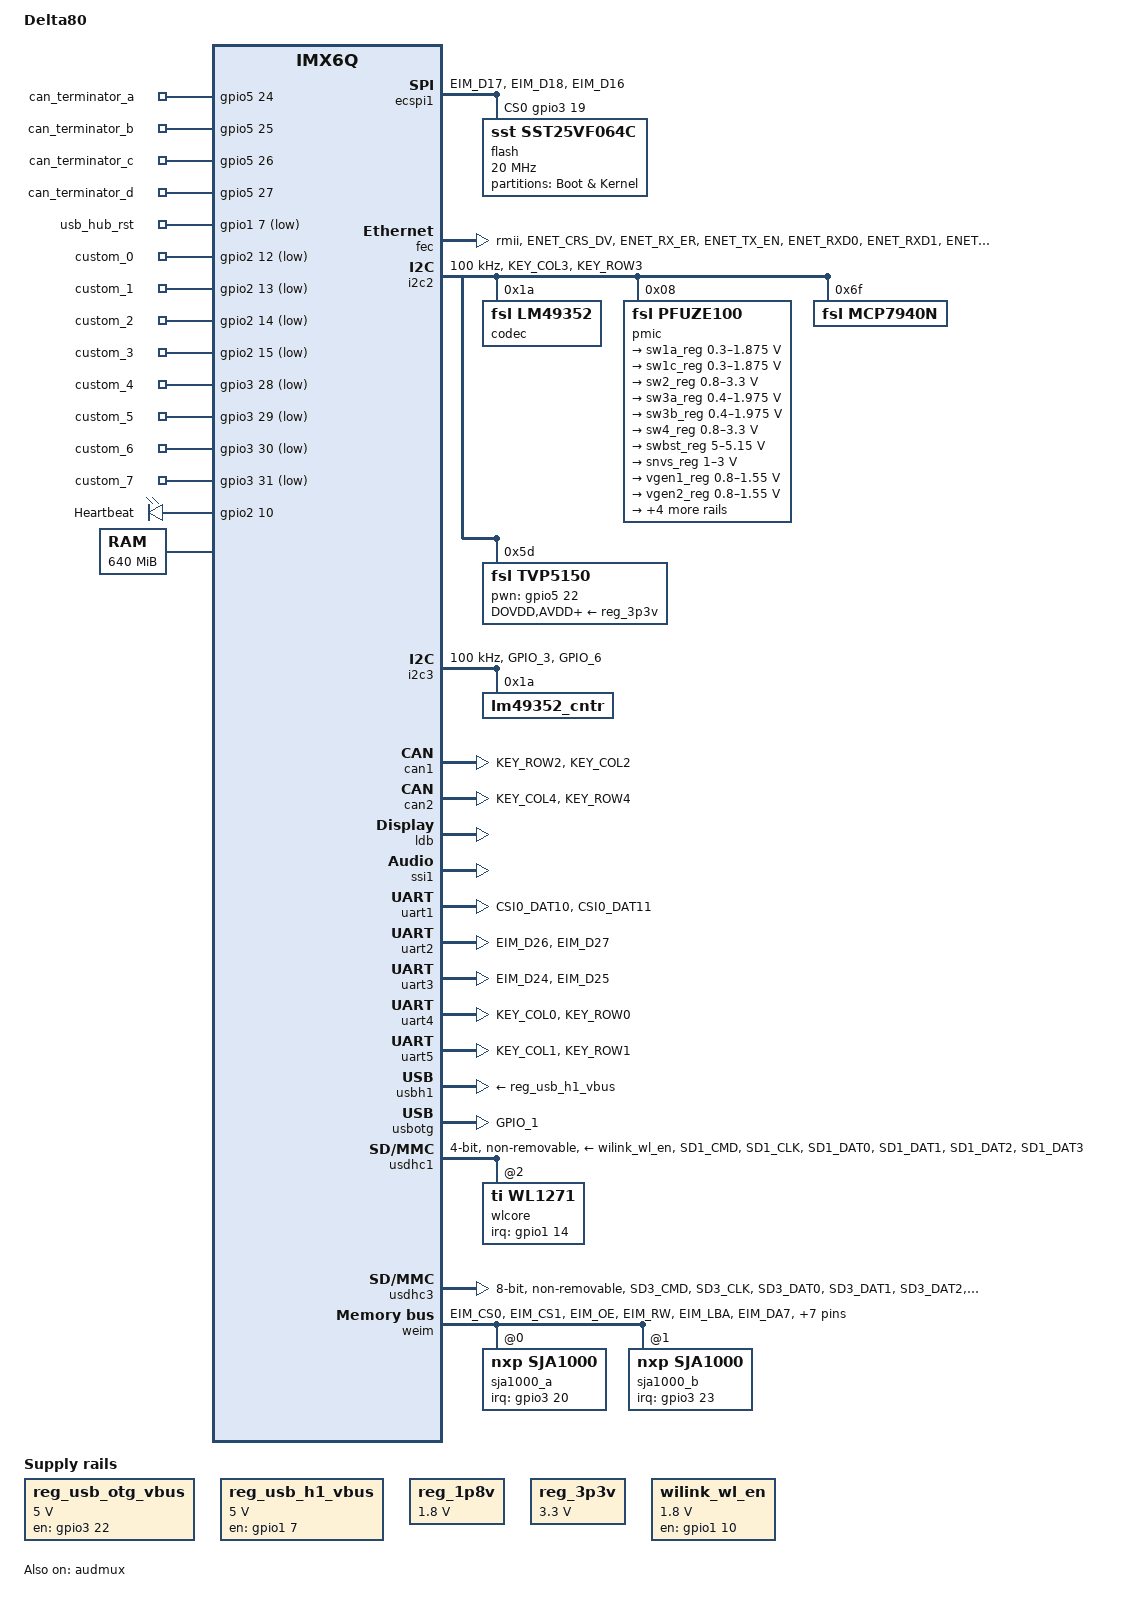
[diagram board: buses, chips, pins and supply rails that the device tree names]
/*
 * Copyright 2012 Freescale Semiconductor, Inc.
 * Copyright 2011 Linaro Ltd.
 *
*/
/dts-v1/;

#include "imx6q.dtsi"
#include <dt-bindings/input/input.h>
#include <dt-bindings/gpio/gpio.h>

/ {
	model = "Delta80";
	compatible = "fsl,imx6q-sabresd", "fsl,imx6q";
};

/ {

	aliases {
		mxcfb0 = &mxcfb1;
		mxcfb1 = &mxcfb2;
		mxcfb2 = &mxcfb3;
		mxcfb3 = &mxcfb4;
        mmc0 = &usdhc3; /*force enumeration at index 0*/
        mmc1 = &usdhc1; /*force enumeration at index 0*/
        nor = &flash;
	};

	gpio_export {
		compatible = "gpio-export";
		#size-cells = <0>;

		can_terminator_a {
			gpio-export,name = "can_terminator_a";
			gpio-export,output = <0>;
			gpios = <&gpio5 24 GPIO_ACTIVE_HIGH>;
		};
		can_terminator_b {
			gpio-export,name = "can_terminator_b";
			gpio-export,output = <0>;
			gpios = <&gpio5 25 GPIO_ACTIVE_HIGH>;
		};
		can_terminator_c {
			gpio-export,name = "can_terminator_c";
			gpio-export,output = <0>;
			gpios = <&gpio5 26 GPIO_ACTIVE_HIGH>;
		};
		can_terminator_d {
			gpio-export,name = "can_terminator_d";
			gpio-export,output = <0>;
			gpios = <&gpio5 27 GPIO_ACTIVE_HIGH>;
		};
		usb_hub_rst {
			gpio-export,name = "usb_hub_rst";
			gpio-export,output = <0>;
			gpios = <&gpio1 7 GPIO_ACTIVE_LOW>;
		};
		//wlan_enable { //TBD
		//	gpio-export,name = "wlan_enable";
		//	gpio-export,output = <0>;
		//	gpios = <&gpio1 10 GPIO_ACTIVE_HIGH>;
		//};
		custom_0 {
			gpio-export,name = "custom_0";
			gpios = <&gpio2 12 GPIO_ACTIVE_LOW>;
		};
		custom_1 {
			gpio-export,name = "custom_1";
			gpios = <&gpio2 13 GPIO_ACTIVE_LOW>;
		};
		custom_2 {
			gpio-export,name = "custom_2";
			gpios = <&gpio2 14 GPIO_ACTIVE_LOW>;
		};
		custom_3 {
			gpio-export,name = "custom_3";
			gpios = <&gpio2 15 GPIO_ACTIVE_LOW>;
		};
		custom_4 {
			gpio-export,name = "custom_4";
			gpios = <&gpio3 28 GPIO_ACTIVE_LOW>;
		};
		custom_5 {
			gpio-export,name = "custom_5";
			gpios = <&gpio3 29 GPIO_ACTIVE_LOW>;
		};
		custom_6 {
			gpio-export,name = "custom_6";
			gpios = <&gpio3 30 GPIO_ACTIVE_LOW>;
		};
		custom_7 {
			gpio-export,name = "custom_7";
			gpios = <&gpio3 31 GPIO_ACTIVE_LOW>;
		};
	};

	leds {
		compatible = "gpio-leds";
		debug-led {
			label = "Heartbeat";
			gpios = <&gpio2 10 0>;
			linux,default-trigger = "heartbeat";
			default-state = "off";
		};
	};

	memory {
		reg = <0x10000000 0x28000000>;
	};

	regulators {
		compatible = "simple-bus";
		#address-cells = <1>;
		#size-cells = <0>;

		reg_usb_otg_vbus: regulator@0 {
			compatible = "regulator-fixed";
			reg = <0>;
			regulator-name = "usb_otg_vbus";
			regulator-min-microvolt = <5000000>;
			regulator-max-microvolt = <5000000>;
			gpio = <&gpio3 22 0>;
			enable-active-high;
		};

		reg_usb_h1_vbus: regulator@1 {
			compatible = "regulator-fixed";
			reg = <1>;
			regulator-name = "usb_h1_vbus";
			regulator-min-microvolt = <5000000>;
			regulator-max-microvolt = <5000000>;
			gpio = <&gpio1 7 0>;
			enable-active-high;
		};

		reg_1p8v: 1p8v {
			compatible = "regulator-fixed";
			regulator-name = "1P8V";
			regulator-min-microvolt = <1800000>;
			regulator-max-microvolt = <1800000>;
			regulator-always-on;
		};

		reg_3p3v: 3p3v {
			compatible = "regulator-fixed";
			regulator-name = "3P3V";
			regulator-min-microvolt = <3300000>;
			regulator-max-microvolt = <3300000>;
			regulator-always-on;
		};

		wilink_wl_en: tiwi_wlan {
			compatible = "regulator-fixed";
			regulator-name = "tiwi_wl_en";
			regulator-min-microvolt = <1800000>;
			regulator-max-microvolt = <1800000>;
			gpio = <&gpio1 10 0>;
			startup-delay-us = <70000>;
			enable-active-high;
		};
	};


	sound {
		compatible = "fsl,imx6q-sabresd-lm49352",
			   "fsl,imx-audio-lm49352";
		model = "imx-lm49352";
		ssi-controller = <&ssi1>;
		clock-frequency = <12000000>;
 		audio-codec = <&codec>;
		audio-routing =
			"LINE_IN","Line In Jack",
			"Ext Spk","LINE_OUT";
		mux-int-port = <1>;
		mux-ext-port = <4>;
	};


	mxcfb1: fb@0 {
		compatible = "fsl,mxc_sdc_fb";
		disp_dev = "ldb";
		interface_pix_fmt = "RGB666";
		default_bpp = <16>;
		int_clk = <0>;
		late_init = <0>;
		status = "okay";
	};

	mxcfb2: fb@1 {
		compatible = "fsl,mxc_sdc_fb";
		disp_dev = "hdmi";
		interface_pix_fmt = "RGB24";
		mode_str ="1920x1080M@60";
		default_bpp = <24>;
		int_clk = <0>;
		late_init = <0>;
		status = "disabled";
	};

	mxcfb3: fb@2 {
		compatible = "fsl,mxc_sdc_fb";
		disp_dev = "lcd";
		interface_pix_fmt = "RGB565";
		mode_str ="CLAA-WVGA";
		default_bpp = <16>;
		int_clk = <0>;
		late_init = <0>;
		status = "disabled";
	};

	mxcfb4: fb@3 {
		compatible = "fsl,mxc_sdc_fb";
		disp_dev = "ldb";
		interface_pix_fmt = "RGB666";
		default_bpp = <16>;
		int_clk = <0>;
		late_init = <0>;
		status = "disabled";
	};

	v4l2_cap_0 {
		compatible = "fsl,imx6q-v4l2-capture";
		ipu_id = <0>;
		csi_id = <0>;
		mclk_source = <0>;
		status = "okay";
	};

	wlan_bt_rfkill {
		compatible = "net,rfkill-gpio";
		status = "disabled";
		name = "wlan_bt_rfkill";
		type = <2>; /* bluetooth */
		gpios = <&gpio1 15 0>;
	};
};


&audmux {
	pinctrl-names = "default";
	pinctrl-0 = <&pinctrl_audmux>;
	status = "okay";
};

&cpu0 {
	arm-supply = <&sw1a_reg>;
	soc-supply = <&sw1c_reg>;
};

&ecspi1 {
	fsl,spi-num-chipselects = <1>;
	cs-gpios = <&gpio3 19 0>;
	pinctrl-names = "default";
	pinctrl-0 = <&pinctrl_ecspi1>;
	status = "okay";

    /*BEWARE! if nor flash won't get recognized remember to modprobe imx-sdma first*/
    /*which is built as a module to allow loading the firmware from rootfs*/
	flash: m25p80@0 {
		#address-cells = <1>;
		#size-cells = <1>;
		compatible = "sst,sst25vf064c", "jedec,spi-nor";
		spi-max-frequency = <20000000>;
		reg = <0>;
		partition@0 {
			label = "Boot & Kernel";
			reg = <0x0 0x800000>;
		};
	};
};

&fec {
	pinctrl-names = "default";
	pinctrl-0 = <&pinctrl_enet>;
	phy-mode = "rmii";
	phy-reset-gpios = <&gpio7 12 0>;
	phy-reset-duration = <1>;
	status = "okay";
};

&i2c1 {
	clock-frequency = <100000>;
	pinctrl-names = "default";
	pinctrl-0 = <&pinctrl_i2c1>;
	status = "disabled";
};

&i2c2 {
	clock-frequency = <100000>;
	pinctrl-names = "default";
	pinctrl-0 = <&pinctrl_i2c2>;
	status = "okay";

	codec: lm49352@1a {
		compatible = "fsl,lm49352";
		reg = <0x1a>;
	};

	pmic: pfuze100@08 {
		compatible = "fsl,pfuze100";
		reg = <0x08>;

		regulators {
			sw1a_reg: sw1ab {
				regulator-min-microvolt = <300000>;
				regulator-max-microvolt = <1875000>;
				regulator-boot-on;
				regulator-always-on;
				regulator-ramp-delay = <6250>;
			};

			sw1c_reg: sw1c {
				regulator-min-microvolt = <300000>;
				regulator-max-microvolt = <1875000>;
				regulator-boot-on;
				regulator-always-on;
				regulator-ramp-delay = <6250>;
			};

			sw2_reg: sw2 {
				regulator-min-microvolt = <800000>;
				regulator-max-microvolt = <3300000>;
				regulator-boot-on;
				regulator-always-on;
			};

			sw3a_reg: sw3a {
				regulator-min-microvolt = <400000>;
				regulator-max-microvolt = <1975000>;
				regulator-boot-on;
				regulator-always-on;
			};

			sw3b_reg: sw3b {
				regulator-min-microvolt = <400000>;
				regulator-max-microvolt = <1975000>;
				regulator-boot-on;
				regulator-always-on;
			};

			sw4_reg: sw4 {
				regulator-min-microvolt = <800000>;
				regulator-max-microvolt = <3300000>;
			};

			swbst_reg: swbst {
				regulator-min-microvolt = <5000000>;
				regulator-max-microvolt = <5150000>;
			};

			snvs_reg: vsnvs {
				regulator-min-microvolt = <1000000>;
				regulator-max-microvolt = <3000000>;
				regulator-boot-on;
				regulator-always-on;
			};

			vref_reg: vrefddr {
				regulator-boot-on;
				regulator-always-on;
			};

			vgen1_reg: vgen1 {
				regulator-min-microvolt = <800000>;
				regulator-max-microvolt = <1550000>;
			};

			vgen2_reg: vgen2 {
				regulator-min-microvolt = <800000>;
				regulator-max-microvolt = <1550000>;
			};

			vgen3_reg: vgen3 {
				regulator-min-microvolt = <1800000>;
				regulator-max-microvolt = <3300000>;
			};

			vgen4_reg: vgen4 {
				regulator-min-microvolt = <1800000>;
				regulator-max-microvolt = <3300000>;
				regulator-always-on;
			};

			vgen5_reg: vgen5 {
				regulator-min-microvolt = <1800000>;
				regulator-max-microvolt = <3300000>;
				regulator-always-on;
			};

			vgen6_reg: vgen6 {
				regulator-min-microvolt = <1800000>;
				regulator-max-microvolt = <3300000>;
				regulator-always-on;
			};
		};
	};

	mcp7940n@6f {
		compatible = "fsl,mcp7940n";
		reg = <0x6f>;
	};

	tvp5150@5d {
		compatible = "fsl,tvp5150";
		reg = <0x5d>;
		pinctrl-names = "default";
		pinctrl-0 = <&pinctrl_ipu1_2>;
		clocks = <&clks 201>;
		clock-names = "csi_mclk";
		DOVDD-supply = <&reg_3p3v>; /* 3.3v */
		AVDD-supply = <&reg_3p3v>;  /* 3.3v */
		DVDD-supply = <&reg_3p3v>;  /* 3.3v */
		PVDD-supply = <&reg_3p3v>;  /* 3.3v */
		pwn-gpios = <&gpio5 22 0>;
		csi_id = <0>;
		mclk = <27000000>;
		mclk_source = <0>;
		cvbs = <1>;
	};
};

&i2c3 {
	clock-frequency = <100000>;
	pinctrl-names = "default";
	pinctrl-0 = <&pinctrl_i2c3>;
	status = "okay";

    lm49352_cntr@1a {
		compatible = "lm49352_cntr";
		reg = <0x1a>;
	};
};

&iomuxc {
	pinctrl-names = "default";
	pinctrl-0 = <&pinctrl_hog>;

	imx6qdl-sabresd {
		pinctrl_hog: hoggrp {
			fsl,pins = <
				/*MX6QDL_PAD_CSI0_DAT6__GPIO5_IO24 0x80000000*/ /*CAN_A Terminator*/
				/*MX6QDL_PAD_CSI0_DAT7__GPIO5_IO25 0x80000000*/ /*CAN_B Terminator*/
				/*MX6QDL_PAD_CSI0_DAT8__GPIO5_IO26 0x80000000*/ /*CAN_C Terminator*/
				/*MX6QDL_PAD_CSI0_DAT9__GPIO5_IO27 0x80000000*/ /*CAN_D Terminator*/
				MX6QDL_PAD_GPIO_18__GPIO7_IO13   0x80000000 /*Watchdog Refresh*/
				MX6QDL_PAD_GPIO_19__GPIO4_IO05   0x80000000 /*PMIC Interrupt*/
				MX6QDL_PAD_DISP0_DAT19__GPIO5_IO13 0x80000000 /*Touchscreen Pwr*/
				MX6QDL_PAD_EIM_D23__GPIO3_IO23 0x80000000 /*CAN_D Interrupt*/
				MX6QDL_PAD_EIM_D20__GPIO3_IO20 0x80000000 /*CAN_C Interrupt*/
				MX6QDL_PAD_GPIO_5__GPIO1_IO05 0x80000000  /* PCIE_RST */
				MX6QDL_PAD_GPIO_0__GPIO1_IO00 0x80000000  /* PCIE_PWR_EN */
				MX6QDL_PAD_GPIO_2__GPIO1_IO02 0x80000000  /* PCIE_DIS */
				MX6QDL_PAD_GPIO_4__GPIO1_IO04 0x80000000  /* PCIE_Wake */
				MX6QDL_PAD_EIM_D19__GPIO3_IO19 0x80000000 /* SPI NOR CS */
				MX6QDL_PAD_EIM_BCLK__GPIO6_IO31 0x80000000 /*SPI NOR WP*/
				MX6QDL_PAD_CSI0_DAT4__GPIO5_IO22 0x80000000 /* Camera PWDN */
				MX6QDL_PAD_CSI0_DAT5__GPIO5_IO23 0x80000000 /* Camera RESET */
				MX6QDL_PAD_SD4_DAT2__GPIO2_IO10	0x80000000 /* System LED */ 
				MX6QDL_PAD_EIM_D22__GPIO3_IO22 0x80000000 /*USB OTG PWR */
				/*MX6QDL_PAD_GPIO_7__GPIO1_IO07  0x80000000*/ /*USB HUB RESET */
				MX6QDL_PAD_SD2_CLK__GPIO1_IO10 0x80000000 /*WLAN ENABLE */
				MX6QDL_PAD_SD2_DAT1__GPIO1_IO14	0x80000000 /*WLAN Interrupt */ 
				MX6QDL_PAD_SD2_DAT0__GPIO1_IO15 0x80000000 /*BT ENABLE */
				MX6QDL_PAD_GPIO_17__GPIO7_IO12  0x80000000 /*ETH1 Rst */
				MX6QDL_PAD_GPIO_9__GPIO1_IO09    0x80000000 /*ETH1 Interrupt*/
				MX6QDL_PAD_GPIO_8__GPIO1_IO08    0x80000000 /*ETH2 Rst*/
				/*MX6QDL_PAD_SD4_DAT4__GPIO2_IO12	 0x80000000*/ /*Custom Conf Bit0*/
				/*MX6QDL_PAD_SD4_DAT5__GPIO2_IO13	 0x80000000*/ /*Custom Conf Bit1*/
				/*MX6QDL_PAD_SD4_DAT6__GPIO2_IO14	 0x80000000*/ /*Custom Conf Bit2*/
				/*MX6QDL_PAD_SD4_DAT7__GPIO2_IO15	 0x80000000*/ /*Custom Conf Bit3*/
				/*MX6QDL_PAD_EIM_D28__GPIO3_IO28	 0x80000000*/ /*Custom Conf Bit4*/
				/*MX6QDL_PAD_EIM_D29__GPIO3_IO29	 0x80000000*/ /*Custom Conf Bit5*/
				/*MX6QDL_PAD_EIM_D30__GPIO3_IO30	 0x80000000*/ /*Custom Conf Bit6*/
				/*MX6QDL_PAD_EIM_D31__GPIO3_IO31	 0x80000000*/ /*Custom Conf Bit7*/
			>;
		};

		pinctrl_audmux: audmuxgrp {
			fsl,pins = <
				MX6QDL_PAD_DISP0_DAT20__AUD4_TXC  0x130b0
				MX6QDL_PAD_DISP0_DAT21__AUD4_TXD  0x110b0
				MX6QDL_PAD_DISP0_DAT22__AUD4_TXFS 0x130b0
				MX6QDL_PAD_DISP0_DAT23__AUD4_RXD  0x130b0
			>;
		};

		pinctrl_ecspi1: ecspi1grp {
			fsl,pins = <
				MX6QDL_PAD_EIM_D17__ECSPI1_MISO	0x100b1
				MX6QDL_PAD_EIM_D18__ECSPI1_MOSI	0x100b1
				MX6QDL_PAD_EIM_D16__ECSPI1_SCLK	0x100b1
			>;
		};

		pinctrl_enet: enetgrp {
			fsl,pins = <

				MX6QDL_PAD_ENET_CRS_DV__ENET_RX_EN	0x1b0b0
				MX6QDL_PAD_ENET_RX_ER__ENET_RX_ER	0x1b0b0
				MX6QDL_PAD_ENET_TX_EN__ENET_TX_EN	0x1b0b0
				MX6QDL_PAD_ENET_RXD0__ENET_RX_DATA0	0x1b0b0
				MX6QDL_PAD_ENET_RXD1__ENET_RX_DATA1	0x1b0b0
				MX6QDL_PAD_ENET_TXD0__ENET_TX_DATA0	0x1b0b0
				MX6QDL_PAD_ENET_TXD1__ENET_TX_DATA1	0x1b0b0
				MX6QDL_PAD_ENET_MDIO__ENET_MDIO       	0x1b0b0
				MX6QDL_PAD_ENET_MDC__ENET_MDC         	0x1b0b0
				MX6QDL_PAD_GPIO_16__ENET_REF_CLK      	0x4001b0a8
			>;
		};

		pinctrl_enet_irq: enetirqgrp {
			fsl,pins = <
				MX6QDL_PAD_GPIO_6__ENET_IRQ		0x000b1
			>;
		};

		pinctrl_gpio_keys: gpio_keysgrp {
			fsl,pins = <
				MX6QDL_PAD_EIM_D29__GPIO3_IO29 0x80000000
				MX6QDL_PAD_GPIO_4__GPIO1_IO04  0x80000000
				MX6QDL_PAD_GPIO_5__GPIO1_IO05  0x80000000
			>;
		};

		pinctrl_hdmi_cec: hdmicecgrp {
			fsl,pins = <
				MX6QDL_PAD_KEY_ROW2__HDMI_TX_CEC_LINE 0x1f8b0
			>;
		};

		pinctrl_i2c1: i2c1grp {
			fsl,pins = <
				MX6QDL_PAD_CSI0_DAT8__I2C1_SDA		0x4001b8b1
				MX6QDL_PAD_CSI0_DAT9__I2C1_SCL		0x4001b8b1
			>;
		};

		pinctrl_i2c2: i2c2grp {
			fsl,pins = <
				MX6QDL_PAD_KEY_COL3__I2C2_SCL		0x4001b8b1
				MX6QDL_PAD_KEY_ROW3__I2C2_SDA		0x4001b8b1
			 >;
		};

		pinctrl_i2c3: i2c3grp {
			fsl,pins = <
				MX6QDL_PAD_GPIO_3__I2C3_SCL		0x4001b8b1
				MX6QDL_PAD_GPIO_6__I2C3_SDA		0x4001b8b1
			>;
		};

		pinctrl_ipu1_2: ipu1grp-2 { /* parallel camera */
			fsl,pins = <
				MX6QDL_PAD_CSI0_DAT12__IPU1_CSI0_DATA12    0x80000000
				MX6QDL_PAD_CSI0_DAT13__IPU1_CSI0_DATA13    0x80000000
				MX6QDL_PAD_CSI0_DAT14__IPU1_CSI0_DATA14    0x80000000
				MX6QDL_PAD_CSI0_DAT15__IPU1_CSI0_DATA15    0x80000000
				MX6QDL_PAD_CSI0_DAT16__IPU1_CSI0_DATA16    0x80000000
				MX6QDL_PAD_CSI0_DAT17__IPU1_CSI0_DATA17    0x80000000
				MX6QDL_PAD_CSI0_DAT18__IPU1_CSI0_DATA18    0x80000000
				MX6QDL_PAD_CSI0_DAT19__IPU1_CSI0_DATA19    0x80000000
				/*MX6QDL_PAD_CSI0_DATA_EN__IPU1_CSI0_DATA_EN 0x80000000*/
				MX6QDL_PAD_CSI0_PIXCLK__IPU1_CSI0_PIXCLK   0x80000000
				MX6QDL_PAD_CSI0_MCLK__IPU1_CSI0_HSYNC      0x80000000
				MX6QDL_PAD_CSI0_VSYNC__IPU1_CSI0_VSYNC     0x80000000
			>;
		};

		pinctrl_pwm1: pwm1grp {
			fsl,pins = <
				MX6QDL_PAD_SD1_DAT3__PWM1_OUT		0x1b0b1
			>;
		};

		pinctrl_uart1: uart1grp {
			fsl,pins = <
				MX6QDL_PAD_CSI0_DAT10__UART1_TX_DATA	0x1b0b1
				MX6QDL_PAD_CSI0_DAT11__UART1_RX_DATA	0x1b0b1
			>;
		};

		pinctrl_uart2: uart2grp-1 {
			fsl,pins = <
				MX6QDL_PAD_EIM_D26__UART2_TX_DATA 0x1b0b1
				MX6QDL_PAD_EIM_D27__UART2_RX_DATA 0x1b0b1
			>;
		};
		pinctrl_uart3: uart3grp-2 {
			fsl,pins = <
				MX6QDL_PAD_EIM_D24__UART3_TX_DATA 0x1b0b1
				MX6QDL_PAD_EIM_D25__UART3_RX_DATA 0x1b0b1
			>;
		};
		pinctrl_uart4: uart4grp-1 {
			fsl,pins = <
				MX6QDL_PAD_KEY_COL0__UART4_TX_DATA 0x1b0b1
				MX6QDL_PAD_KEY_ROW0__UART4_RX_DATA 0x1b0b1
			>;
		};
		pinctrl_uart5: uart5grp-1 {
			fsl,pins = <
				MX6QDL_PAD_KEY_COL1__UART5_TX_DATA 0x1b0b1
				MX6QDL_PAD_KEY_ROW1__UART5_RX_DATA 0x1b0b1
			>;
		};

		pinctrl_usbotg: usbotggrp {
			fsl,pins = <
				MX6QDL_PAD_GPIO_1__USB_OTG_ID 0x17059
			>;
		};

		pinctrl_usdhc1_1: usdhc1grp-1 {
			fsl,pins = <
				MX6QDL_PAD_SD1_CMD__SD1_CMD    0x17059
				MX6QDL_PAD_SD1_CLK__SD1_CLK    0x10059
				MX6QDL_PAD_SD1_DAT0__SD1_DATA0 0x17059
				MX6QDL_PAD_SD1_DAT1__SD1_DATA1 0x17059
				MX6QDL_PAD_SD1_DAT2__SD1_DATA2 0x17059
				MX6QDL_PAD_SD1_DAT3__SD1_DATA3 0x17059
			>;
		};

		pinctrl_usdhc3_1: usdhc3grp-1 {
			fsl,pins = <
				MX6QDL_PAD_SD3_CMD__SD3_CMD    0x17059
				MX6QDL_PAD_SD3_CLK__SD3_CLK    0x10059
				MX6QDL_PAD_SD3_DAT0__SD3_DATA0 0x17059
				MX6QDL_PAD_SD3_DAT1__SD3_DATA1 0x17059
				MX6QDL_PAD_SD3_DAT2__SD3_DATA2 0x17059
				MX6QDL_PAD_SD3_DAT3__SD3_DATA3 0x17059
				MX6QDL_PAD_SD3_DAT4__SD3_DATA4 0x17059
				MX6QDL_PAD_SD3_DAT5__SD3_DATA5 0x17059
				MX6QDL_PAD_SD3_DAT6__SD3_DATA6 0x17059
				MX6QDL_PAD_SD3_DAT7__SD3_DATA7 0x17059
				MX6QDL_PAD_SD3_RST__SD3_RESET  0x17059 /*?MOD?*/
			>;
		};

		pinctrl_usdhc3_1_100mhz: usdhc3grp-1-100mhz { /* 100Mhz */
			fsl,pins = <
				MX6QDL_PAD_SD3_CMD__SD3_CMD 0x170B9
				MX6QDL_PAD_SD3_CLK__SD3_CLK 0x100B9
				MX6QDL_PAD_SD3_DAT0__SD3_DATA0 0x170B9
				MX6QDL_PAD_SD3_DAT1__SD3_DATA1 0x170B9
				MX6QDL_PAD_SD3_DAT2__SD3_DATA2 0x170B9
				MX6QDL_PAD_SD3_DAT3__SD3_DATA3 0x170B9
				MX6QDL_PAD_SD3_DAT4__SD3_DATA4 0x170B9
				MX6QDL_PAD_SD3_DAT5__SD3_DATA5 0x170B9
				MX6QDL_PAD_SD3_DAT6__SD3_DATA6 0x170B9
				MX6QDL_PAD_SD3_DAT7__SD3_DATA7 0x170B9
			>;
		};

		pinctrl_usdhc3_1_200mhz: usdhc3grp-1-200mhz { /* 200Mhz */
			fsl,pins = <
				MX6QDL_PAD_SD3_CMD__SD3_CMD 0x170F9
				MX6QDL_PAD_SD3_CLK__SD3_CLK 0x100F9
				MX6QDL_PAD_SD3_DAT0__SD3_DATA0 0x170F9
				MX6QDL_PAD_SD3_DAT1__SD3_DATA1 0x170F9
				MX6QDL_PAD_SD3_DAT2__SD3_DATA2 0x170F9
				MX6QDL_PAD_SD3_DAT3__SD3_DATA3 0x170F9
				MX6QDL_PAD_SD3_DAT4__SD3_DATA4 0x170F9
				MX6QDL_PAD_SD3_DAT5__SD3_DATA5 0x170F9
				MX6QDL_PAD_SD3_DAT6__SD3_DATA6 0x170F9
				MX6QDL_PAD_SD3_DAT7__SD3_DATA7 0x170F9
			>;
		};

		pinctrl_usdhc4: usdhc4grp {
			fsl,pins = <
				MX6QDL_PAD_SD4_CMD__SD4_CMD		0x17059
				MX6QDL_PAD_SD4_CLK__SD4_CLK		0x10059
				MX6QDL_PAD_SD4_DAT0__SD4_DATA0		0x17059
				MX6QDL_PAD_SD4_DAT1__SD4_DATA1		0x17059
				MX6QDL_PAD_SD4_DAT2__SD4_DATA2		0x17059
				MX6QDL_PAD_SD4_DAT3__SD4_DATA3		0x17059
				MX6QDL_PAD_SD4_DAT4__SD4_DATA4		0x17059
				MX6QDL_PAD_SD4_DAT5__SD4_DATA5		0x17059
				MX6QDL_PAD_SD4_DAT6__SD4_DATA6		0x17059
				MX6QDL_PAD_SD4_DAT7__SD4_DATA7		0x17059
			>;
		};

		pinctrl_flexcan1_1: flexcan1grp-1 {
			fsl,pins = <
				MX6QDL_PAD_KEY_ROW2__FLEXCAN1_RX 0x80000000
				MX6QDL_PAD_KEY_COL2__FLEXCAN1_TX 0x80000000
			>;
		};

		pinctrl_flexcan2_1: flexcan2grp-1 {
			fsl,pins = <
				MX6QDL_PAD_KEY_COL4__FLEXCAN2_TX 0x80000000
				MX6QDL_PAD_KEY_ROW4__FLEXCAN2_RX 0x80000000
			>;
		};

		pinctrl_weim_cs0_1: weim_cs0grp-1 {
			fsl,pins = <
				MX6QDL_PAD_EIM_CS0__EIM_CS0_B   0xb0b1
				MX6QDL_PAD_EIM_CS1__EIM_CS1_B   0xb0b1 /*?MOD? Added*/
				MX6QDL_PAD_EIM_OE__EIM_OE_B     0xb0b1
				MX6QDL_PAD_EIM_RW__EIM_RW       0xb0b1
				MX6QDL_PAD_EIM_LBA__EIM_LBA_B	0xb0b1
				MX6QDL_PAD_EIM_DA7__EIM_AD07   0xb0b1
				MX6QDL_PAD_EIM_DA6__EIM_AD06   0xb0b1
				MX6QDL_PAD_EIM_DA5__EIM_AD05   0xb0b1
				MX6QDL_PAD_EIM_DA4__EIM_AD04   0xb0b1
				MX6QDL_PAD_EIM_DA3__EIM_AD03   0xb0b1
				MX6QDL_PAD_EIM_DA2__EIM_AD02   0xb0b1
				MX6QDL_PAD_EIM_DA1__EIM_AD01   0xb0b1
				MX6QDL_PAD_EIM_DA0__EIM_AD00   0xb0b1
			>;
		};

	};
};

&gpc {
	/* use ldo-bypass, u-boot will check it and configure */
	fsl,ldo-bypass = <1>;
	fsl,wdog-reset = <2>;
};

&hdmi_audio {
	status = "disabled";
};

&hdmi_cec {
	pinctrl-names = "default";
	pinctrl-0 = <&pinctrl_hdmi_cec>;
	status = "disabled";
};

&hdmi_core {
	status = "disabled";
};

&hdmi_video {
	status = "disabled";
};

&can1 {
	pinctrl-names = "default";
	pinctrl-0 = <&pinctrl_flexcan1_1>;
	status = "okay";
};

&can2 {
	pinctrl-names = "default";
	pinctrl-0 = <&pinctrl_flexcan2_1>;
	status = "okay";
};

&ldb {
	status = "okay";
	lvds-channel@0 {
        crtc = "ipu1-di0";
        fsl,data-mapping = "spwg";
        fsl,data-width = <18>;
        primary;
        status = "okay";
		display-timings {
			native-mode = <&timing0>;
			timing0: ldb-svga {
				clock-frequency = <40000000>;
				hactive = <800>;
				vactive = <600>;
				hback-porch = <40>;
				hfront-porch = <112>;
				vback-porch = <39>;
				vfront-porch = <18>;
				hsync-len = <48>;
				vsync-len = <3>;
			};
		};
	};
};

&mipi_csi {
	status = "disabled";
};

&mipi_dsi {
	status = "disabled";
};

&pcie {
	power-on-gpio = <&gpio3 19 0>;
	reset-gpio = <&gpio7 12 0>;
	status = "disabled";
};

&pwm1 {
	pinctrl-names = "default";
	pinctrl-0 = <&pinctrl_pwm1>;
	status = "disabled";
};

&ssi1 {
	fsl,mode = "i2s-slave";
	status = "okay";
};

&uart1 {
	pinctrl-names = "default";
	pinctrl-0 = <&pinctrl_uart1>;
	status = "okay";
};
&uart2 {
	pinctrl-names = "default";
	pinctrl-0 = <&pinctrl_uart2>;
	status = "okay";
};
&uart3 {
	pinctrl-names = "default";
	pinctrl-0 = <&pinctrl_uart3>;
	status = "okay";
};
&uart4 {
	pinctrl-names = "default";
	pinctrl-0 = <&pinctrl_uart4>;
	status = "okay";
};
&uart5 {
	pinctrl-names = "default";
	pinctrl-0 = <&pinctrl_uart5>;
	status = "okay";
};

&usbh1 {
	vbus-supply = <&reg_usb_h1_vbus>;
	status = "okay";
};

&usbotg {
    /*
    Disable the regulator to avoid providing power to otg port because
    this will keep the board on even without power sinking current from the otg
    port
    */
	//vbus-supply = <&reg_usb_otg_vbus>;
	pinctrl-names = "default";
	pinctrl-0 = <&pinctrl_usbotg>;
	disable-over-current;
	status = "okay";
};

&usdhc1 { /*TiWi wl1271 */
	pinctrl-names = "default";
	pinctrl-0 = <&pinctrl_usdhc1_1>;
	bus-width = <4>;
	vmmc-supply = <&wilink_wl_en>;
	ocr-limit = <0x80>; /* 1.65v - 1.95v */
	cap-power-off-card;
	enable-sdio-wakeup;
    non-removable;
	keep-power-in-suspend;
	status = "okay";

	#address-cells = <1>;
	#size-cells = <0>;
	wlcore@7 {
		compatible = "ti,wl1271";
		reg = <2>;
		status = "okay";
		interrupt-parent = <&gpio1>;
		interrupts = <14 IRQ_TYPE_LEVEL_HIGH>;
		ref-clock-frequency = <38400000>;
	};
};

&usdhc2 {
	status = "disabled";
};

&usdhc3 {/* uSDHC3, EMMC */
	pinctrl-names = "default", "state_100mhz", "state_200mhz";
	pinctrl-0 = <&pinctrl_usdhc3_1>;
	pinctrl-1 = <&pinctrl_usdhc3_1_100mhz>;
	pinctrl-2 = <&pinctrl_usdhc3_1_200mhz>;
    bus-width = <8>;
    non-removable;
    no-1-8-v;
	keep-power-in-suspend;
    status = "okay";
};

&usdhc4 {
	status = "disabled";
};


&weim {
	pinctrl-names = "default";
	pinctrl-0 = <&pinctrl_weim_cs0_1>;
	#address-cells = <2>;
	#size-cells = <1>;
	ranges = <0 0 0x08000000 0x04000000
		  1 0 0x0c000000 0x04000000>;
	status = "okay";

	sja1000_a@0,0 {
		compatible = "nxp,sja1000";
		reg = <0 0 0x01ff>;
        reg-io-width = <4>;
		fsl,weim-cs-timing = <0x002300b9 0x00001001 0x1C284646
		0x00000000 0xDC4009A6 0x00000000>;/*Setup device for multiplexed bus*/
		nxp,external-clock-frequency = <16000000>;
		nxp,clock-out-frequency = <2000000>;
		interrupts = <20 IRQ_TYPE_LEVEL_LOW>;
		interrupt-parent = <&gpio3>;
	};

	sja1000_b@1,0 {
		compatible = "nxp,sja1000";
		reg = <1 0 0x01ff>;
        reg-io-width = <4>;
		fsl,weim-cs-timing = <0x002300b9 0x00001001 0x1C284646
		0x00000000 0xDC4009A6 0x00000000>;/*Setup device for multiplexed bus*/
		nxp,external-clock-frequency = <16000000>;
		nxp,clock-out-frequency = <2000000>;
		interrupts = <23 IRQ_TYPE_LEVEL_LOW>;
		interrupt-parent = <&gpio3>;
	};
};

&gpc {
	/* use ldo-enable, u-boot will check it and configure */
	fsl,ldo-bypass = <0>;
	/* watchdog select of reset source */
	fsl,wdog-reset = <1>;
};

&wdog1 {
	status = "disabled";
};

&wdog2 {
	status = "disabled";
};


